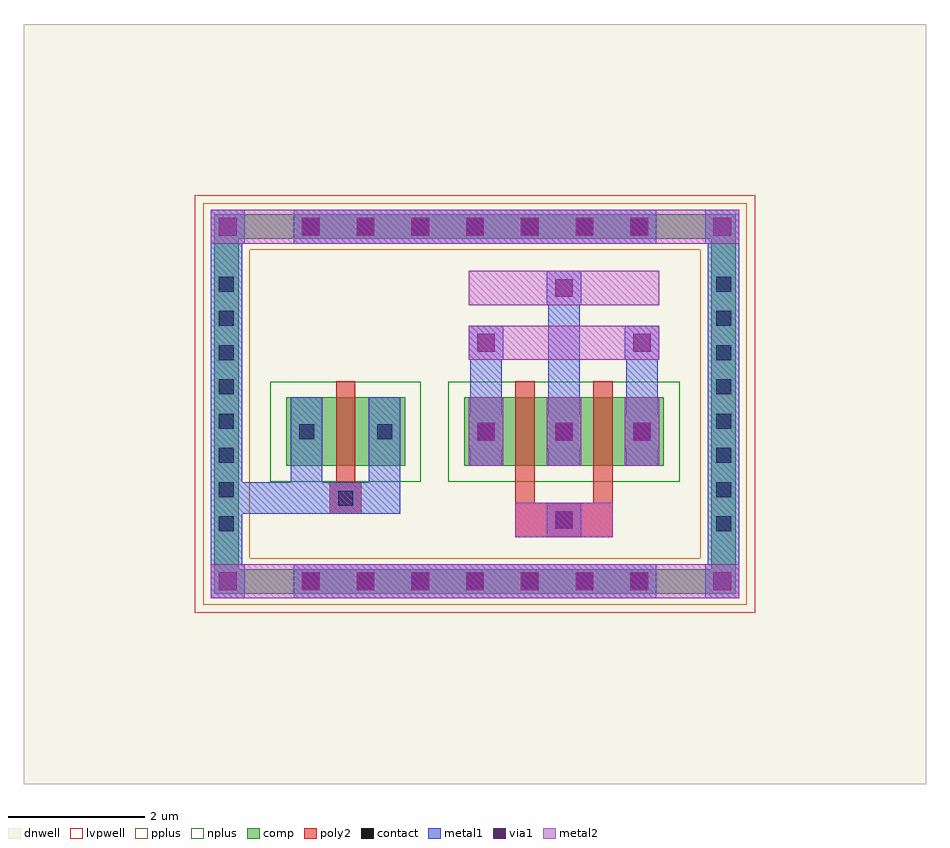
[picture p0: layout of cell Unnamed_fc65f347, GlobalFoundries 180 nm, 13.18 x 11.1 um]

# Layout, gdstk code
import gdstk
lib = gdstk.Library(unit=1e-6, precision=5e-09)
def R(c, l, rs):  # rectangles x0, y0, x1, y1
    for r in rs: c.add(gdstk.rectangle(r[:2], r[2:], *l))
def A(c, l, x, y, w, h, nx, ny, dx, dy):  # array of equal rectangles
    R(c, l, [(x+i*dx, y+j*dy, x+i*dx+w, y+j*dy+h) for i in range(nx) for j in range(ny)])
def P(c, l, *ps):  # polygons
    for p in ps: c.add(gdstk.Polygon(p, *l))
dnwell = (12, 0)
comp = (22, 0)
poly2 = (30, 0)
pplus = (31, 0)
nplus = (32, 0)
contact = (33, 0)
metal1 = (34, 0)
via1 = (35, 0)
metal2 = (36, 0)
lvpwell = (204, 0)

unnamed_fc65f347 = lib.new_cell('Unnamed_fc65f347')
R(unnamed_fc65f347, dnwell, [(-6.59,-5.55,6.59,5.55)])
A(unnamed_fc65f347, comp, -2.58, -2.77, 0.36, 0.36, 7, 2, 0.8, 5.18)
A(unnamed_fc65f347, comp, -3.81, -1.93, 0.36, 0.36, 1, 8, 0, 0.5)
A(unnamed_fc65f347, comp, 3.45, -1.93, 0.36, 0.36, 1, 8, 0, 0.5)
R(unnamed_fc65f347, comp, [(-2.58,-2.77,2.58,-2.41), (-3.81,-1.93,-3.45,1.93), (3.45,-1.93,3.81,1.93), (-2.76,-0.905,-1.02,0.095), (-0.16,-0.905,2.76,0.095), (-2.58,2.41,2.58,2.77)])
P(unnamed_fc65f347, comp, [(3.81,2.77),(-3.81,2.77),(-3.81,-2.41),(-3.45,-2.41),(-3.45,2.41),(3.45,2.41),(3.45,-2.41),(-3.45,-2.41),(-3.81,-2.41),(-3.81,-2.77),(3.81,-2.77)])
R(unnamed_fc65f347, poly2, [(0.59,-1.945,2.01,-1.445), (1.12,-1.875,1.48,-1.515), (-2.12,-1.605,-1.66,-1.145), (-2.07,-1.555,-1.71,-1.195), (0.59,-1.445,0.87,-1.145), (1.73,-1.445,2.01,-1.145), (-2.03,-1.145,-1.75,0.335), (0.59,-1.145,0.87,0.335), (1.73,-1.145,2.01,0.335)])
P(unnamed_fc65f347, pplus, [(3.97,2.93),(-3.97,2.93),(-3.97,-2.25),(-3.29,-2.25),(-3.29,2.25),(3.29,2.25),(3.29,-2.25),(-3.29,-2.25),(-3.97,-2.25),(-3.97,-2.93),(3.97,-2.93)])
R(unnamed_fc65f347, nplus, [(-2.99,-1.135,-0.79,0.325), (-0.39,-1.135,2.99,0.325)])
A(unnamed_fc65f347, contact, -2.51, -2.7, 0.22, 0.22, 7, 2, 0.8, 5.18)
A(unnamed_fc65f347, contact, -3.74, -1.86, 0.22, 0.22, 1, 8, 0, 0.5)
A(unnamed_fc65f347, contact, 3.52, -1.86, 0.22, 0.22, 1, 8, 0, 0.5)
A(unnamed_fc65f347, contact, 0.05, -0.515, 0.22, 0.22, 3, 1, 1.14, 0)
R(unnamed_fc65f347, contact, [(1.19,-1.805,1.41,-1.585), (-2,-1.485,-1.78,-1.265), (-2.57,-0.515,-2.35,-0.295), (-1.43,-0.515,-1.21,-0.295)])
A(unnamed_fc65f347, metal1, -2.65, -2.84, 0.5, 0.5, 7, 2, 0.8, 5.18)
A(unnamed_fc65f347, metal1, -3.86, -1.98, 0.46, 0.46, 1, 8, 0, 0.5)
A(unnamed_fc65f347, metal1, 3.4, -1.98, 0.46, 0.46, 1, 8, 0, 0.5)
A(unnamed_fc65f347, metal1, -0.07, -0.905, 0.46, 1, 3, 1, 1.14, 0)
A(unnamed_fc65f347, metal1, -0.07, -0.635, 0.46, 0.46, 3, 1, 1.14, 0)
R(unnamed_fc65f347, metal1, [(-3.86,-2.84,-3.36,-2.34), (-3.86,-2.84,-3.36,-2.34), (-3.86,-2.84,-3.4,-2.41), (-2.65,-2.84,2.65,-2.34), (3.36,-2.84,3.86,-2.34), (3.36,-2.84,3.86,-2.34), (3.4,-2.84,3.86,-2.41), (-3.86,-2.41,-3.4,2.41), (3.4,-2.41,3.86,2.41), (1.05,-1.945,1.55,-1.445), (-3.86,-1.605,-2.12,-1.145), (-2.69,-1.605,-2.12,-1.145), (-2.69,-1.605,-2.23,-0.905), (-2.12,-1.605,-1.66,-1.145), (-1.66,-1.605,-1.09,-1.145), (-1.55,-1.605,-1.09,-0.905), (-2.69,-0.905,-2.23,0.095), (-1.55,-0.905,-1.09,0.095), (-0.09,-0.655,0.41,-0.155), (-0.09,-0.655,0.41,-0.155), (1.05,-0.655,1.55,-0.155), (1.05,-0.655,1.55,-0.155), (2.19,-0.655,2.69,-0.155), (2.19,-0.655,2.69,-0.155), (-2.69,-0.635,-2.23,-0.175), (-1.55,-0.635,-1.09,-0.175), (-0.07,0.095,0.39,1.145), (1.07,0.095,1.53,1.945), (2.21,0.095,2.67,1.145), (-0.09,0.645,0.41,1.145), (2.19,0.645,2.69,1.145), (1.05,1.445,1.55,1.945), (-3.86,2.34,-3.36,2.84), (-3.86,2.34,-3.36,2.84), (-2.65,2.34,2.65,2.84), (3.36,2.34,3.86,2.84), (3.36,2.34,3.86,2.84), (-3.86,2.41,-3.4,2.84), (3.4,2.41,3.86,2.84)])
A(unnamed_fc65f347, via1, -2.53, -2.72, 0.26, 0.26, 7, 2, 0.8, 5.18)
A(unnamed_fc65f347, via1, 0.03, -0.535, 0.26, 0.26, 3, 1, 1.14, 0)
R(unnamed_fc65f347, via1, [(-3.74,-2.72,-3.48,-2.46), (3.48,-2.72,3.74,-2.46), (1.17,-1.825,1.43,-1.565), (0.03,0.765,0.29,1.025), (2.31,0.765,2.57,1.025), (1.17,1.565,1.43,1.825), (-3.74,2.46,-3.48,2.72), (3.48,2.46,3.74,2.72)])
A(unnamed_fc65f347, metal2, -2.65, -2.84, 0.5, 0.5, 7, 2, 0.8, 5.18)
A(unnamed_fc65f347, metal2, -0.09, -0.905, 0.5, 1, 3, 1, 1.14, 0)
A(unnamed_fc65f347, metal2, -0.09, -0.655, 0.5, 0.5, 3, 1, 1.14, 0)
R(unnamed_fc65f347, metal2, [(-3.86,-2.84,-3.36,-2.34), (-3.86,-2.84,-3.36,-2.34), (-3.86,-2.84,-3.45,-2.34), (-3.45,-2.84,3.45,-2.34), (3.36,-2.84,3.86,-2.34), (3.36,-2.84,3.86,-2.34), (3.45,-2.84,3.86,-2.34), (0.59,-1.945,2.01,-1.445), (1.05,-1.945,1.55,-1.445), (-0.09,0.645,0.41,1.145), (-0.09,0.645,2.69,1.145), (2.19,0.645,2.69,1.145), (-0.09,1.445,2.69,1.945), (1.05,1.445,1.55,1.945), (-3.86,2.34,-3.36,2.84), (-3.86,2.34,-3.36,2.84), (-3.86,2.34,-3.45,2.84), (-3.45,2.34,3.45,2.84), (3.36,2.34,3.86,2.84), (3.36,2.34,3.86,2.84), (3.45,2.34,3.86,2.84)])
R(unnamed_fc65f347, lvpwell, [(-4.09,-3.05,4.09,3.05)])

lib.write_gds('Unnamed_fc65f347.gds')
